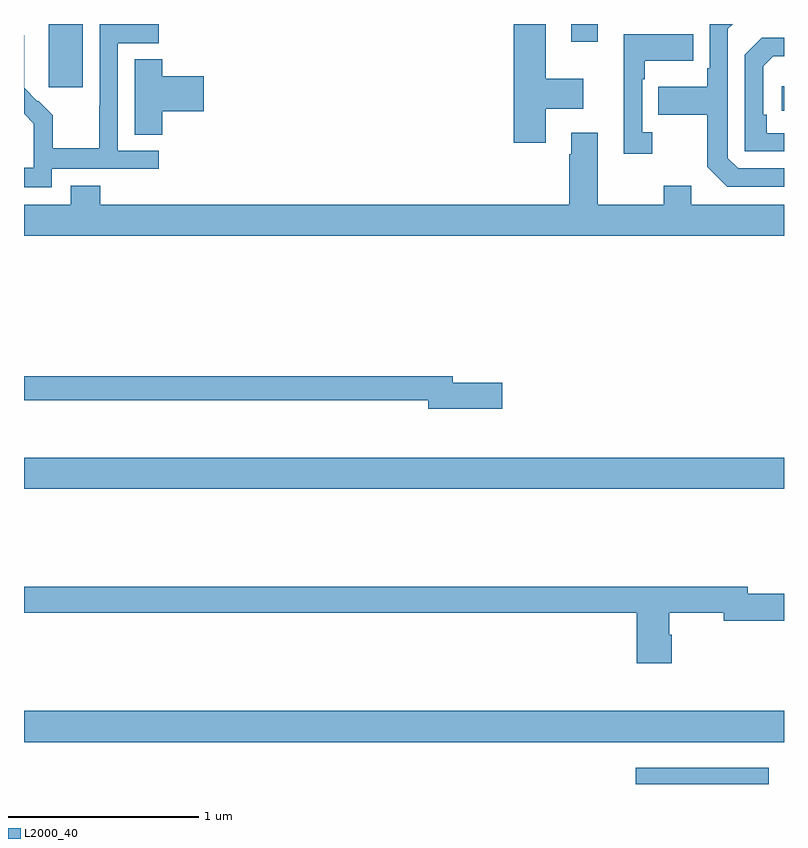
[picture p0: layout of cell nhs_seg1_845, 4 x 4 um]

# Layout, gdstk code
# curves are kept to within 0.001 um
import gdstk
lib = gdstk.Library(unit=1e-6, precision=1e-09)
def R(c, l, rs):  # rectangles x0, y0, x1, y1
    for r in rs: c.add(gdstk.rectangle(r[:2], r[2:], *l))
def P(c, l, *ps):  # polygons
    for p in ps: c.add(gdstk.Polygon(p, *l))
L2000_40 = (2000, 40)

nhs_seg1_845 = lib.new_cell('nhs_seg1_845')
R(nhs_seg1_845, L2000_40, [(160.221,530.199,160.921,530.284), (157,530.42,161,530.584), (157,531.752,161,531.916), (160.989,533.742,161,533.872), (157.13,533.865,157.309,534.199), (159.881,534.105,160.021,534.199)])
P(nhs_seg1_845, L2000_40, [(159.745,533.753),(159.943,533.753),(159.943,533.911),(159.745,533.911),(159.745,534.199),(159.578,534.199),(159.578,533.574),(159.745,533.574)],
  [(161,533.439),(160.758,533.439),(160.704,533.493),(160.704,534.174),(160.729,534.199),(160.608,534.199),(160.608,533.965),(160.596,533.965),(160.596,533.869),(160.339,533.869),(160.339,533.722),(160.596,533.722),(160.596,533.449),(160.701,533.343),(161,533.343)],
  [(157.146,533.436),(157.708,533.436),(157.708,533.532),(157.494,533.532),(157.494,534.099),(157.708,534.099),(157.708,534.198),(157.398,534.198),(157.398,533.768),(157.396,533.768),(157.396,533.545),(157.151,533.545),(157.151,533.719),(157.074,533.796),(157.071,533.793),(157.001,533.864),(157.002,534.14),(157,534.14),(157,533.726),(157.052,533.674),(157.052,533.577),(157.05,533.577),(157.05,533.443),(157,533.443),(157,533.339),(157.146,533.339)],
  [(160.306,533.63),(160.254,533.63),(160.254,533.909),(160.267,533.909),(160.267,534.005),(160.523,534.005),(160.523,534.145),(160.157,534.145),(160.157,533.517),(160.306,533.517)],
  [(161,533.625),(160.91,533.625),(160.91,533.722),(160.89,533.722),(160.89,533.976),(160.943,534.029),(161,534.029),(161,534.126),(160.884,534.126),(160.794,534.036),(160.794,533.529),(161,533.529)],
  [(157.727,533.741),(157.945,533.741),(157.945,533.924),(157.727,533.924),(157.727,534.014),(157.583,534.014),(157.583,533.617),(157.727,533.617)],
  [(161,533.248),(160.513,533.248),(160.513,533.347),(160.366,533.347),(160.366,533.248),(160.021,533.248),(160.021,533.626),(159.881,533.626),(159.881,533.513),(159.869,533.513),(159.869,533.248),(157.4,533.248),(157.4,533.347),(157.247,533.347),(157.247,533.248),(157,533.248),(157,533.084),(161,533.084)],
  [(159.517,532.31),(159.256,532.31),(159.256,532.346),(157,532.346),(157,532.218),(159.128,532.218),(159.128,532.175),(159.517,532.175)],
  [(160.409,530.985),(160.396,530.985),(160.396,531.1),(160.682,531.1),(160.682,531.058),(161,531.058),(161,531.2),(160.81,531.2),(160.81,531.236),(157,531.236),(157,531.1),(160.226,531.1),(160.226,530.835),(160.409,530.835)])

lib.write_gds('nhs_seg1_845.gds')
